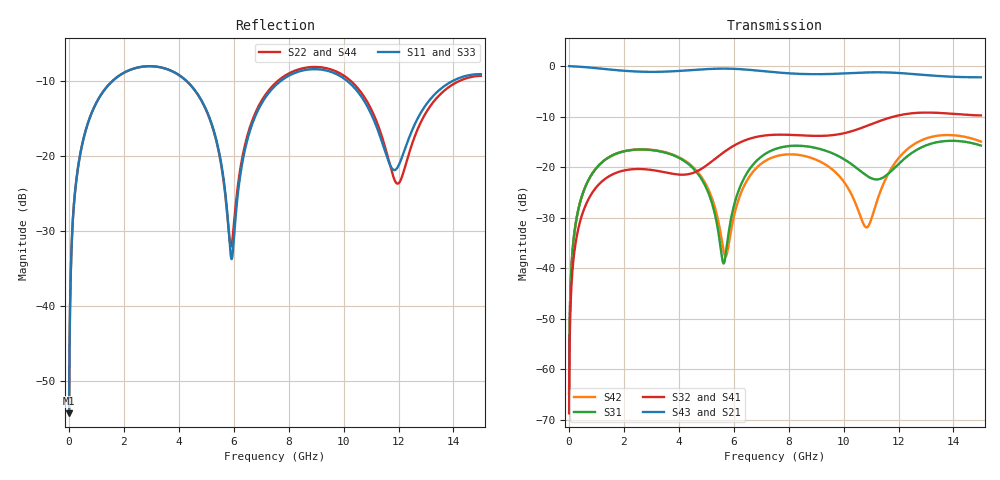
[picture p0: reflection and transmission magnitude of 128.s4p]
! Created with skrf 1.8.0 (http://scikit-rf.org).
# GHz S RI R 50.0
!freq ReS11 ImS11 ReS12 ImS12 ReS13 ImS13
! ReS14 ImS14
! ReS21 ImS21 ReS22 ImS22 ReS23 ImS23
! ReS24 ImS24
! ReS31 ImS31 ReS32 ImS32 ReS33 ImS33
! ReS34 ImS34
! ReS41 ImS41 ReS42 ImS42 ReS43 ImS43
! ReS44 ImS44
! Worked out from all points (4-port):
!   2499 points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, 5 MHz to 15 GHz, reference 50 ohm
!   strongest paths, dB at 5 MHz, 3.476 GHz, 7.19 GHz, 11.1 GHz, 15 GHz:
!     S43: 0.0, -1.1, -1.1, -1.2, -2.2
!     S21: 0.0, -1.1, -1.1, -1.2, -2.2
!     S32: -68.7, -21.0, -13.7, -11.3, -9.8
!     S41: -68.7, -21.0, -13.7, -11.3, -9.8
!     S31: -64.8, -17.1, -17.2, -22.3, -15.7
!     S42: -64.8, -17.0, -18.6, -28.7, -14.9
!   lowest |S11| = -54.4 dB at 5 MHz (marker M1), VSWR 1.00, Z = 50.2 + j0.116 ohm
!   |S11| at or under -10 dB: start of sweep to 1.588 GHz; 4.279 GHz to 7.716 GHz (3.437 GHz wide, 57.3 % of centre); 10.13 GHz to 13.98 GHz (3.85 GHz wide, 31.9 % of centre)
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0.005  0.00152 0.00116  0.9985 -0.00296  7.47e-05 0.000568  -7.28e-05 -0.000361
       0.9985 -0.00296  0.00152 0.00116  -7.28e-05 -0.000361  7.47e-05 0.000568
       7.47e-05 0.000568  -7.28e-05 -0.000361  0.00152 0.00116  0.9985 -0.00296
       -7.28e-05 -0.000361  7.47e-05 0.000568  0.9985 -0.00296  0.00152 0.00116
0.3126303  0.0211 0.0768  0.9713 -0.1846  0.00906 0.034  -0.00763 -0.0215
           0.9713 -0.1846  0.0211 0.0768  -0.00763 -0.0215  0.00911 0.034
           0.00906 0.034  -0.00763 -0.0215  0.0211 0.0768  0.9713 -0.1846
           -0.00763 -0.0215  0.00911 0.034  0.9713 -0.1846  0.0211 0.0768
1.569404  0.2517 0.1876  0.5909 -0.7054  0.1142 0.0632  -0.0835 -0.0128
          0.5909 -0.7054  0.2516 0.1876  -0.0835 -0.0128  0.115 0.0622
          0.1142 0.0632  -0.0835 -0.0128  0.2517 0.1876  0.5909 -0.7054
          -0.0835 -0.0128  0.115 0.0622  0.5909 -0.7054  0.2516 0.1875
5.758649  0.0232 -0.0359  -0.933 -0.1429  0.0137 0.011  -0.0186 0.1472
          -0.933 -0.1429  0.0269 -0.0313  -0.0179 0.1473  -0.0123 0.00707
          0.0137 0.011  -0.0179 0.1473  0.0236 -0.0344  -0.9331 -0.1426
          -0.0186 0.1472  -0.0123 0.00707  -0.9331 -0.1426  0.0261 -0.0299
9.185077  0.3754 -0.0236  0.0222 0.8328  0.0952 -0.1164  0.1973 -0.0515
          0.0222 0.8328  0.3875 -0.0406  0.1972 -0.0529  0.0938 -0.0618
          0.0952 -0.1164  0.1972 -0.0529  0.3775 -0.0236  0.0212 0.8319
          0.1973 -0.0515  0.0938 -0.0618  0.0212 0.8319  0.3899 -0.0398
11.92997  0.0813 0.00971  0.8531 0.0861  -0.0285 0.0992  0.0274 -0.3208
          0.8531 0.0861  0.0644 -0.0126  0.0245 -0.3211  0.0234 0.1136
          -0.0285 0.0992  0.0245 -0.3211  0.0829 0.00549  0.8528 0.0895
          0.0274 -0.3208  0.0234 0.1136  0.8528 0.0895  0.0638 -0.0162
15  0.3502 -0.0115  0.1023 -0.7672  0.1234 -0.1079  -0.3246 0.0124
    0.1023 -0.7672  0.3416 -0.00125  -0.3249 0.0164  0.1323 -0.1212
    0.1234 -0.1079  -0.3249 0.0164  0.3467 -0.0113  0.1057 -0.7682
    -0.3246 0.0124  0.1323 -0.1212  0.1057 -0.7682  0.3388 0.000381
